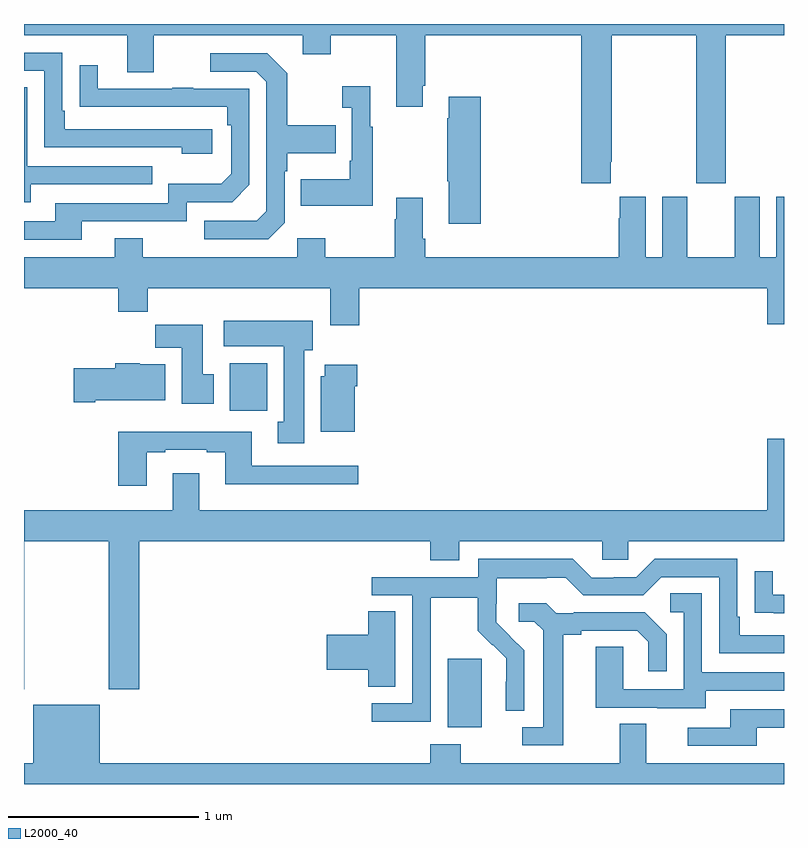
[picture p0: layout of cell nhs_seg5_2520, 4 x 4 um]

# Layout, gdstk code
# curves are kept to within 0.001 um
import gdstk
lib = gdstk.Library(unit=1e-6, precision=1e-09)
def R(c, l, rs):  # rectangles x0, y0, x1, y1
    for r in rs: c.add(gdstk.rectangle(r[:2], r[2:], *l))
def P(c, l, *ps):  # polygons
    for p in ps: c.add(gdstk.Polygon(p, *l))
L2000_40 = (2000, 40)

nhs_seg5_2520 = lib.new_cell('nhs_seg5_2520')
R(nhs_seg5_2520, L2000_40, [(259.229,873.098,259.408,873.459), (258.083,874.764,258.279,875.014)])
P(nhs_seg5_2520, L2000_40, [(257,876.74),(257.543,876.74),(257.543,876.546),(257.683,876.546),(257.683,876.74),(258.467,876.74),(258.467,876.641),(258.615,876.641),(258.615,876.74),(258.959,876.74),(258.959,876.363),(259.099,876.363),(259.099,876.475),(259.112,876.475),(259.112,876.74),(259.934,876.74),(259.934,875.961),(260.089,875.961),(260.089,876.073),(260.094,876.073),(260.094,876.74),(260.539,876.74),(260.539,875.961),(260.694,875.961),(260.694,876.74),(261,876.74),(261,876.799),(257,876.799)],
  [(257.992,876.246),(257.215,876.246),(257.215,876.343),(257.202,876.343),(257.202,876.648),(257,876.648),(257,876.552),(257.106,876.552),(257.106,876.15),(257.831,876.15),(257.831,876.116),(257.992,876.116)],
  [(258.372,875.754),(258.372,876.023),(258.385,876.023),(258.385,876.119),(258.641,876.119),(258.641,876.267),(258.385,876.267),(258.385,876.539),(258.279,876.645),(257.979,876.645),(257.979,876.549),(258.222,876.549),(258.276,876.495),(258.276,875.814),(258.225,875.763),(257.949,875.763),(257.949,875.667),(258.285,875.667)],
  [(257.305,875.76),(257.856,875.76),(257.856,875.862),(258.096,875.862),(258.186,875.952),(258.186,876.459),(257.891,876.459),(257.891,876.464),(257.779,876.464),(257.779,876.459),(257.389,876.459),(257.389,876.583),(257.293,876.583),(257.293,876.364),(258.07,876.363),(258.07,876.266),(258.09,876.266),(258.09,876.012),(258.037,875.959),(257.76,875.959),(257.76,875.856),(257.165,875.856),(257.165,875.76),(257,875.76),(257,875.664),(257.305,875.664)],
  [(258.835,876.259),(258.823,876.259),(258.823,876.472),(258.675,876.472),(258.675,876.359),(258.726,876.359),(258.726,876.079),(258.714,876.079),(258.714,875.983),(258.457,875.983),(258.457,875.843),(258.835,875.843)],
  [(257.035,875.955),(257.675,875.955),(257.675,876.051),(257.016,876.051),(257.016,876.467),(257,876.467),(257,875.861),(257.035,875.861)],
  [(259.403,876.415),(259.235,876.415),(259.235,876.302),(259.228,876.302),(259.228,875.971),(259.235,875.971),(259.235,875.748),(259.403,875.748)],
  [(258.611,875.214),(258.764,875.214),(258.764,875.408),(260.912,875.408),(260.912,875.22),(261,875.22),(261,875.89),(260.96,875.89),(260.96,875.572),(260.872,875.572),(260.872,875.89),(260.741,875.89),(260.741,875.572),(260.491,875.572),(260.491,875.89),(260.36,875.89),(260.36,875.572),(260.272,875.572),(260.272,875.89),(260.135,875.89),(260.135,875.777),(260.129,875.777),(260.129,875.572),(259.112,875.572),(259.112,875.668),(259.099,875.668),(259.099,875.884),(258.959,875.884),(258.959,875.771),(258.952,875.771),(258.952,875.572),(258.585,875.572),(258.585,875.671),(258.438,875.671),(258.438,875.572),(257.625,875.572),(257.625,875.671),(257.477,875.671),(257.477,875.572),(257,875.572),(257,875.408),(257.495,875.408),(257.495,875.284),(257.651,875.284),(257.651,875.408),(258.611,875.408)],
  [(258.475,875.082),(258.52,875.082),(258.52,875.236),(258.051,875.236),(258.051,875.102),(258.368,875.102),(258.368,874.705),(258.335,874.705),(258.335,874.593),(258.475,874.593)],
  [(257.998,874.956),(257.941,874.956),(257.941,875.215),(257.692,875.215),(257.692,875.096),(257.831,875.096),(257.831,874.8),(257.998,874.8)],
  [(257.374,874.82),(257.743,874.82),(257.743,875.008),(257.61,875.008),(257.61,875.014),(257.48,875.014),(257.48,874.986),(257.262,874.986),(257.262,874.808),(257.374,874.808)],
  [(258.742,874.892),(258.755,874.892),(258.755,875.005),(258.584,875.005),(258.584,874.944),(258.563,874.944),(258.563,874.652),(258.742,874.652)],
  [(257.647,874.545),(257.743,874.545),(257.743,874.557),(257.963,874.557),(257.963,874.545),(258.059,874.545),(258.059,874.376),(258.76,874.376),(258.76,874.473),(258.199,874.473),(258.199,874.654),(257.495,874.654),(257.495,874.368),(257.647,874.368)],
  [(257.001,874.076),(257.446,874.076),(257.446,873.297),(257.606,873.297),(257.606,874.076),(259.139,874.076),(259.139,873.977),(259.291,873.977),(259.291,874.076),(260.043,874.076),(260.043,873.978),(260.181,873.978),(260.181,874.076),(261,874.076),(261,874.615),(260.912,874.615),(260.912,874.24),(257.923,874.24),(257.923,874.435),(257.783,874.435),(257.783,874.24),(257,874.24),(257,873.297),(257.001,873.297)],
  [(259.14,873.556),(259.142,873.556),(259.142,873.78),(259.387,873.78),(259.387,873.605),(259.464,873.528),(259.467,873.531),(259.538,873.461),(259.538,873.338),(259.536,873.338),(259.536,873.184),(259.632,873.184),(259.632,873.502),(259.486,873.65),(259.486,873.747),(259.488,873.747),(259.488,873.881),(259.751,873.881),(259.751,873.885),(259.851,873.885),(259.944,873.792),(260.259,873.792),(260.355,873.888),(260.658,873.888),(260.658,873.486),(261,873.486),(261,873.582),(260.767,873.582),(260.767,873.679),(260.754,873.679),(260.754,873.984),(260.319,873.984),(260.223,873.888),(260.105,873.888),(260.105,873.885),(259.989,873.885),(259.889,873.985),(259.392,873.985),(259.392,873.888),(258.831,873.888),(258.831,873.792),(259.044,873.792),(259.044,873.225),(258.831,873.225),(258.831,873.127),(259.14,873.127)],
  [(261,873.795),(260.941,873.795),(260.941,873.919),(260.845,873.919),(260.845,873.7),(260.947,873.7),(260.947,873.699),(261,873.699)],
  [(260.587,873.291),(261,873.291),(261,873.387),(260.568,873.387),(260.568,873.803),(260.4,873.803),(260.4,873.702),(260.472,873.702),(260.472,873.297),(260.154,873.297),(260.154,873.521),(260.009,873.521),(260.009,873.201),(260.333,873.201),(260.333,873.197),(260.587,873.197)],
  [(259.837,873.584),(259.933,873.584),(259.933,873.606),(260.228,873.606),(260.285,873.549),(260.285,873.393),(260.382,873.393),(260.382,873.586),(260.266,873.702),(259.894,873.702),(259.894,873.699),(259.8,873.699),(259.748,873.751),(259.605,873.751),(259.605,873.654),(259.686,873.654),(259.733,873.607),(259.733,873.099),(259.623,873.099),(259.623,873.003),(259.837,873.003)],
  [(258.955,873.707),(258.812,873.707),(258.812,873.584),(258.594,873.584),(258.594,873.401),(258.812,873.401),(258.812,873.31),(258.955,873.31)],
  [(261,872.908),(260.275,872.908),(260.275,873.116),(260.135,873.116),(260.135,872.908),(259.299,872.908),(259.299,873.007),(259.139,873.007),(259.139,872.908),(257.398,872.908),(257.398,873.217),(257.048,873.217),(257.048,872.908),(257,872.908),(257,872.799),(261,872.799)],
  [(260.857,873.096),(261,873.096),(261,873.192),(260.717,873.192),(260.717,873.096),(260.493,873.096),(260.493,873),(260.857,873)])

lib.write_gds('nhs_seg5_2520.gds')
